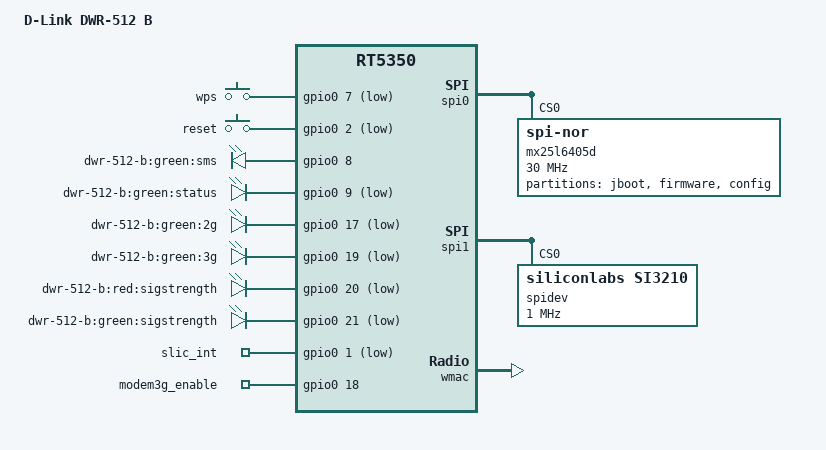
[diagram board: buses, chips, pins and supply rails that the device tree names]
/dts-v1/;

#include "rt5350.dtsi"

#include <dt-bindings/gpio/gpio.h>
#include <dt-bindings/input/input.h>

/ {
	compatible = "dlink,dwr-512-b", "ralink,rt5350-soc";
	model = "D-Link DWR-512 B";

	aliases {
		led-boot = &led_status;
		led-failsafe = &led_status;
		led-running = &led_status;
		led-upgrade = &led_status;
	};

	gpio-keys-polled {
		compatible = "gpio-keys-polled";
		poll-interval = <20>;

		wps {
			label = "wps";
			gpios = <&gpio0 7 GPIO_ACTIVE_LOW>;
			linux,code = <KEY_WPS_BUTTON>;
		};

		reset {
			label = "reset";
			gpios = <&gpio0 2 GPIO_ACTIVE_LOW>;
			linux,code = <KEY_RESTART>;
		};
	};

	gpio-leds {
		compatible = "gpio-leds";

		sms {
			label = "dwr-512-b:green:sms";
			gpios = <&gpio0 8 GPIO_ACTIVE_HIGH>;
		};
		led_status: status {
			label = "dwr-512-b:green:status";
			gpios = <&gpio0 9 GPIO_ACTIVE_LOW>;
		};
		2g {
			label = "dwr-512-b:green:2g";
			gpios = <&gpio0 17 GPIO_ACTIVE_LOW>;
		};
		3g {
			label = "dwr-512-b:green:3g";
			gpios = <&gpio0 19 GPIO_ACTIVE_LOW>;
		};
		sstrengthr {
			label = "dwr-512-b:red:sigstrength";
			gpios = <&gpio0 20 GPIO_ACTIVE_LOW>;
		};
		sstrengthg {
			label = "dwr-512-b:green:sigstrength";
			gpios = <&gpio0 21 GPIO_ACTIVE_LOW>;
		};
	};

	gpio-export {
		compatible = "gpio-export";
		#size-cells = <0>;

		slic_int {
			gpio-export,name = "slic_int";
			gpios = <&gpio0 1 GPIO_ACTIVE_LOW>;
		};
		modem3g_enable {
			gpio-export,name = "modem3g_enable";
			gpio-export,output = <1>;
			gpios = <&gpio0 18 GPIO_ACTIVE_HIGH>;
		};
	};
};

&spi0 {
	status = "okay";

	mx25l6405d@0 {
		compatible = "jedec,spi-nor";
		reg = <0>;
		spi-max-frequency = <30000000>;
		m25p,fast-read;

		partitions {
			compatible = "fixed-partitions";
			#address-cells = <1>;
			#size-cells = <1>;

			partition@0 {
				label = "jboot";
				reg = <0x0 0x10000>;
				read-only;
			};

			partition@10000 {
				label = "firmware";
				reg = <0x10000 0x7e0000>;
			};

			config: partition@7f0000 {
				label = "config";
				reg = <0x7f0000 0x10000>;
			};
		};
	};
};

&spi1 {
	status = "okay";

	spidev@1 {
		#address-cells = <1>;
		#size-cells = <1>;
		compatible = "siliconlabs,si3210";

		reg = <0>;
		spi-max-frequency = <1000000>;
	};
};

&pinctrl {
	state_default: pinctrl0 {
		gpio {
			ralink,group = "i2c", "jtag", "uartf";
			ralink,function = "gpio";
		};
	};
};

&esw {
	mediatek,portmap = <0x2f>;
};

&ethernet {
	mtd-mac-address = <&config 0xe07e>;
};

&wmac {
	ralink,mtd-eeprom = <&config 0xe08a>;
	ralink,led-polarity = <1>;
	mtd-mac-address = <&config 0xe07e>;
};
